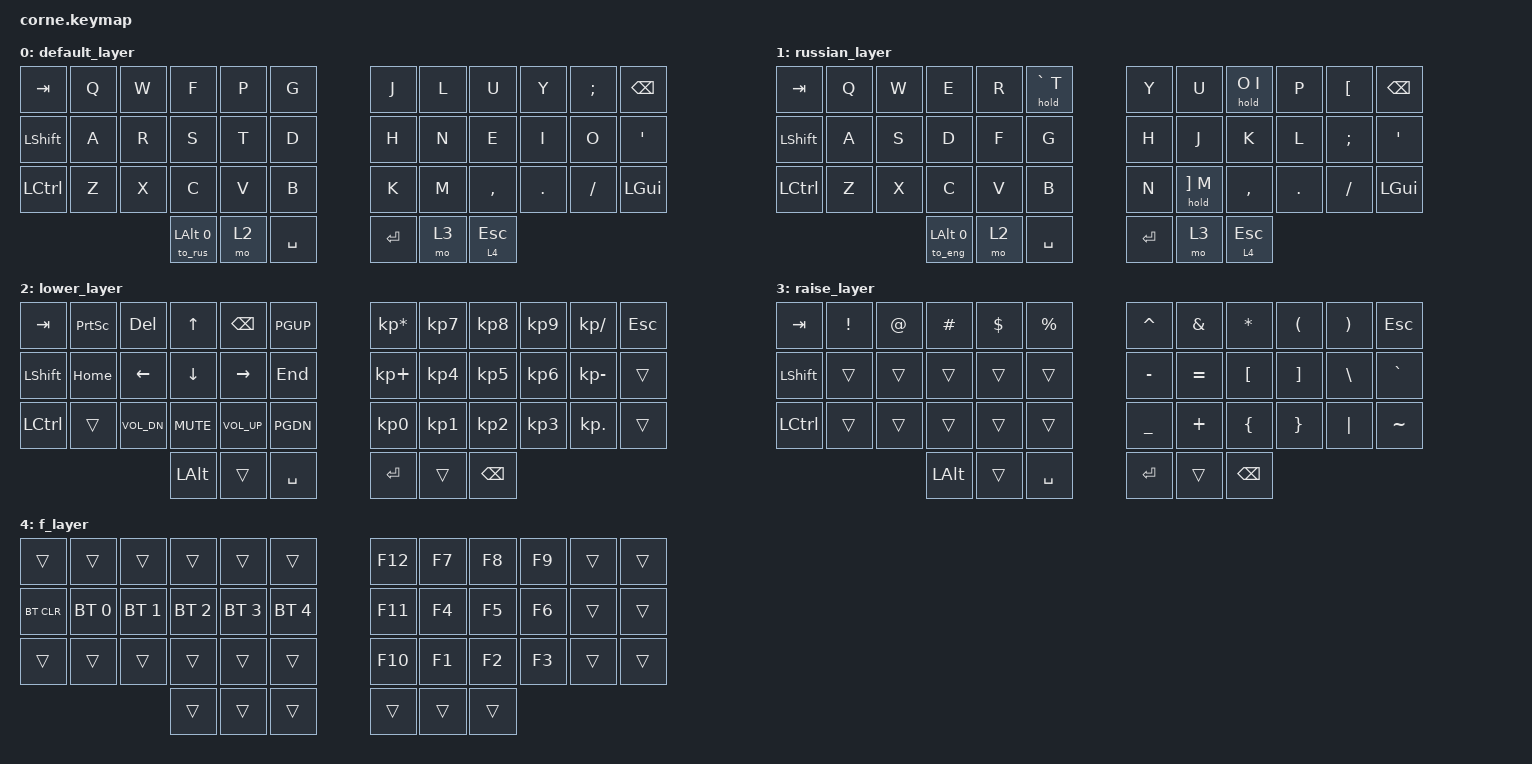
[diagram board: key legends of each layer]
/*
 * Copyright (c) 2020 The ZMK Contributors
 *
 * SPDX-License-Identifier: MIT
 */

#include <behaviors.dtsi>
#include <dt-bindings/zmk/keys.h>
#include <dt-bindings/zmk/bt.h>
#include "behaviors/behavior_esc_layer_switch.dtsi"

/ {
        keymap {
                compatible = "zmk,keymap";

                default_layer {
// -----------------------------------------------------------------------------------------
// |  TAB |  Q  |  W  |  F  |  P  |  G  |   |  J  |  L  |  U  |  Y  |  ;  | BSPC |
// | LSHFT|  A  |  R  |  S  |  T  |  D  |   |  H  |  N  |  E  |  I  |  O  |  '   |
// | CTRL |  Z  |  X  |  C  |  V  |  B  |   |  K  |  M  |  ,  |  .  |  /  | GUI  |
//                    | LALT| LWR |SPACE|   | RET | RSE | ESC |
                        bindings = <
   &kp TAB   &kp Q &kp W &kp F &kp P &kp G   &kp J &kp L  &kp U     &kp Y   &kp SEMI &kp BSPC
   &kp LSHFT &kp A &kp R &kp S &kp T &kp D   &kp H &kp N  &kp E     &kp I   &kp O    &kp SQT
   &kp LCTRL &kp Z &kp X &kp C &kp V &kp B   &kp K &kp M  &kp COMMA &kp DOT &kp FSLH &kp LGUI
                  &to_rus LALT 0 &mo 2 &kp SPACE   &kp RET &mo 3 &lt 4 ESC
                        >;
                };

                russian_layer {
// -----------------------------------------------------------------------------------------
// |  TAB |  Q  |  W  |  E  |  R  | T ` |   |  Y  |  U  | I O |  P  |  [  | BSPC |
// | LSHFT|  A  |  S  |  D  |  F  |  G  |   |  H  |  J  |  K  |  L  |  ;  |  '   |
// | CTRL |  Z  |  X  |  C  |  V  |  B  |   |  N  | M ] |  ,  |  .  |  /  | GUI  |
//                    | LALT| LWR |SPACE|   | RET | RSE | ESC |
                        bindings = <
   &kp TAB   &kp Q &kp W &kp E &kp R &hold GRAVE T   &kp Y   &kp U        &hold O I      &kp P   &kp LBKT &kp BSPC
   &kp LSHFT &kp A &kp S &kp D &kp F &kp G           &kp H   &kp J        &kp K          &kp L   &kp SEMI &kp SQT
   &kp LCTRL &kp Z &kp X &kp C &kp V &kp B           &kp N   &hold RBKT M &kp COMMA      &kp DOT &kp FSLH &kp LGUI
                &to_eng LALT 0 &mo 2 &kp SPACE       &kp RET &mo 3 &lt 4 ESC
                        >;
                };

                lower_layer {
// -----------------------------------------------------------------------------------------
// |  TAB  | PSCR |  DEL  |  UP  | BSPC | PGUP |   | KP* | KP7 | KP8 | KP9 | KP/ | BSPC |
// | LSHFT | HOME | LEFT  | DOWN | RGHT | END  |   | KP+ | KP4 | KP5 | KP6 | KP- |      |
// | CTRL  |      | VOL-  | MUTE | VOL+ | PGDN |   | KP0 | KP1 | KP2 | KP3 | KP. |      |
//                        | LALT |      |SPACE |   | RET |     | ESC |
                        bindings = <
   &kp TAB     &kp PSCRN   &kp DEL      &kp UP      &kp BSPC     &kp PGUP        &kp KP_MULTIPLY   &kp KP_N7   &kp KP_N8   &kp KP_N9   &kp KP_DIVIDE  &kp ESC
   &kp LSHFT   &kp HOME    &kp LEFT     &kp DOWN    &kp RIGHT    &kp END         &kp KP_PLUS     &kp KP_N4   &kp KP_N5   &kp KP_N6   &kp KP_MINUS &trans
   &kp LCTRL   &trans      &kp C_VOL_DN &kp C_MUTE  &kp C_VOL_UP &kp PGDN       &kp KP_N0       &kp KP_N1   &kp KP_N2   &kp KP_N3   &kp KP_DOT   &trans
                                                &kp LALT    &trans      &kp SPACE               &kp RET       &trans      &kp BSPC
                        >;
                };

                raise_layer {
// -----------------------------------------------------------------------------------------
// |  TAB |  !  |  @  |  #  |  $  |  %  |   |  ^  |  &  |  *  |  (  |  )  | ESC  |
// | LSHFT|     |     |     |     |     |   |  -  |  =  |  [  |  ]  |  \  |  `   |
// | CTRL |     |     |     |     |     |   |  _  |  +  |  {  |  }  | "|" |  ~   |
//                    | LALT|     |SPACE|   | RET |     | BSPC|
                        bindings = <
   &kp TAB   &kp EXCL &kp AT &kp HASH &kp DLLR &kp PRCNT   &kp CARET &kp AMPS  &kp ASTRK &kp LPAR &kp RPAR &kp ESC
   &kp LSHFT &trans   &trans &trans   &trans   &trans      &kp MINUS &kp EQUAL &kp LBKT  &kp RBKT &kp BSLH &kp GRAVE
   &kp LCTRL &trans   &trans &trans   &trans   &trans      &kp UNDER &kp PLUS  &kp LBRC  &kp RBRC &kp PIPE &kp TILDE
                             &kp LALT &trans   &kp SPACE   &kp RET   &trans    &kp BSPC
                        >;
                };

                f_layer {
// -----------------------------------------------------------------------------------------
// |   |    |    |    |    |    |   |  F12  |  F7  | F8  |  F9  |    |  |
// | BTCLR| BT1 | BT2 | BT3 | BT4 | BT5 |   | F11 | F4 |  F5 | F6 |     |      |
// |  |     |     |     |     |     |   |   F10  |   F1  |   F2  |  F3   |     |      |
//                    | |     |  |   |  |     |  |
                        bindings = <
   &trans      &trans   &trans   &trans   &trans   &trans      &kp F12   &kp F7   &kp F8   &kp F9   &trans   &trans
   &bt BT_CLR  &bt BT_SEL 0 &bt BT_SEL 1 &bt BT_SEL 2 &bt BT_SEL 3 &bt BT_SEL 4      &kp F11   &kp F4   &kp F5   &kp F6   &trans   &trans
   &trans      &trans   &trans   &trans   &trans   &trans      &kp F10   &kp F1   &kp F2   &kp F3   &trans   &trans
                                                &trans      &trans      &trans               &trans       &trans      &trans
                        >;
                };
        };
};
